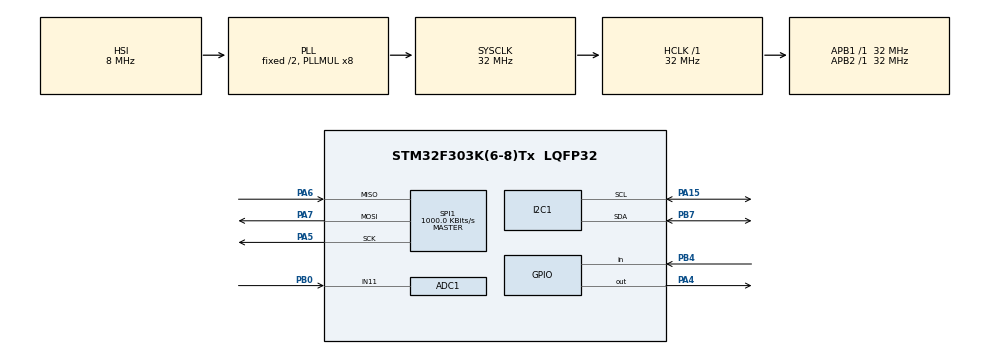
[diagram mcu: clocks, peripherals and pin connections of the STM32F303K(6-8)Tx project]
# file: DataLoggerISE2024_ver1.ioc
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ADC1.Channel-2\#ChannelRegularConversion=ADC_CHANNEL_11
ADC1.NbrOfConversionFlag=1
ADC1.Offset-2\#ChannelRegularConversion=0
ADC1.OffsetNumber-2\#ChannelRegularConversion=ADC_OFFSET_NONE
ADC1.Rank-2\#ChannelRegularConversion=1
ADC1.SamplingTime-2\#ChannelRegularConversion=ADC_SAMPLETIME_1CYCLE_5
ADC1.SubFamily=STM32F303x8
ADC1.master=1
FATFS._MAX_SS=1024
FATFS._USE_LFN=1
FATFS._USE_STRFUNC=2
I2C1.AddressingMode=I2C_ADDRESSINGMODE_7BIT
Mcu.Family=STM32F3
Mcu.Name=STM32F303K(6-8)Tx
Mcu.Package=LQFP32
NVIC.PriorityGroup=NVIC_PRIORITYGROUP_4
PA0.Mode=SYS_WakeUp0
PA0.Signal=SYS_WKUP1
PA13.Mode=Trace_Asynchronous_SW
PA13.Signal=SYS_JTMS-SWDIO
PA14.Mode=Trace_Asynchronous_SW
PA14.Signal=SYS_JTCK-SWCLK
PA15.GPIO_Pu=GPIO_PULLUP
PA15.Mode=I2C
PA15.Signal=I2C1_SCL
PA4.Signal=GPIO_Output
PA5.GPIO_PuPd=GPIO_NOPULL
PA5.Mode=Full_Duplex_Master
PA5.Signal=SPI1_SCK
PA6.GPIO_PuPd=GPIO_PULLUP
PA6.Mode=Full_Duplex_Master
PA6.Signal=SPI1_MISO
PA7.GPIO_PuPd=GPIO_PULLUP
PA7.Mode=Full_Duplex_Master
PA7.Signal=SPI1_MOSI
PB0.Mode=IN11-Single-Ended
PB0.Signal=ADC1_IN11
PB3.Mode=Trace_Asynchronous_SW
PB3.Signal=SYS_JTDO-TRACESWO
PB4.Signal=GPIO_Input
PB7.GPIO_Pu=GPIO_PULLUP
PB7.Mode=I2C
PB7.Signal=I2C1_SDA
ProjectManager.HeapSize=0x200
ProjectManager.StackSize=0x400
ProjectManager.TargetToolchain=STM32CubeIDE
RCC.AHBFreq_Value=32000000
RCC.APB1Freq_Value=32000000
RCC.APB1TimFreq_Value=32000000
RCC.APB2Freq_Value=32000000
RCC.APB2TimFreq_Value=32000000
RCC.CortexFreq_Value=32000000
RCC.HCLKFreq_Value=32000000
RCC.HSE_VALUE=8000000
RCC.HSI_VALUE=8000000
RCC.PLLMUL=RCC_PLL_MUL8
RCC.SYSCLKFreq_VALUE=32000000
RCC.SYSCLKSourceVirtual=RCC_SYSCLKSOURCE_PLLCLK
SPI1.BaudRatePrescaler=SPI_BAUDRATEPRESCALER_32
SPI1.CalculateBaudRate=1000.0 KBits/s
SPI1.DataSize=SPI_DATASIZE_8BIT
SPI1.Direction=SPI_DIRECTION_2LINES
SPI1.Mode=SPI_MODE_MASTER
SPI1.VirtualType=VM_MASTER
VP_FATFS_VS_Generic.Mode=User_defined
VP_TIM3_VS_ClockSourceINT.Mode=Internal
board=custom

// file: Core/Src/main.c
/* USER CODE BEGIN Header */
/**
  ******************************************************************************
  * @file           : main.c
  * @brief          : Main program body
  ******************************************************************************
  * @attention
  *
  * Copyright (c) 2024 STMicroelectronics.
  * All rights reserved.
  *
  * This software is licensed under terms that can be found in the LICENSE file
  * in the root directory of this software component.
  * If no LICENSE file comes with this software, it is provided AS-IS.
  *
  ******************************************************************************
  */
/* USER CODE END Header */
#include "main.h"
#include "fatfs.h"

/* USER CODE BEGIN Includes */
#include "stdio.h"
#include "fatfs_sd.h"
#include "string.h"
#include <bmx055.h>
#include <bmp180.h>
/* USER CODE END Includes */

ADC_HandleTypeDef hadc1;

I2C_HandleTypeDef hi2c1;

SPI_HandleTypeDef hspi1;

TIM_HandleTypeDef htim3;

void SystemClock_Config(void);
static void MX_GPIO_Init(void);
static void MX_I2C1_Init(void);
static void MX_SPI1_Init(void);
static void MX_TIM3_Init(void);
static void MX_ADC1_Init(void);
/* USER CODE BEGIN PFP */
void selfTestBMX055();

//altitudefilter
double getRawAltitude();

/* USER CODE END PFP */

/* USER CODE BEGIN 0 */
FATFS fs;
FIL fil;
FRESULT fresult;
char buffer[160];
UINT br, bw;

FATFS *pfs;
uint32_t fre_clust, tot_size, fre_size;

//HIGHT
double altitude = 0;

//
int fpState = 0;
int time = 0;

int Pit = 0;
float pressure = 0;
float offset = 0.18;
float v = 0.006429;

/* USER CODE END 0 */

int main(void)
{

  /* MCU Configuration--------------------------------------------------------*/

  /* Reset of all peripherals, Initializes the Flash interface and the Systick. */
  HAL_Init();

  /* Configure the system clock */
  SystemClock_Config();

  /* Initialize all configured peripherals */
  MX_GPIO_Init();
  MX_I2C1_Init();
  MX_SPI1_Init();
  MX_FATFS_Init();
  MX_TIM3_Init();
  MX_ADC1_Init();
  /* USER CODE BEGIN 2 */

  fpState = HAL_GPIO_ReadPin(GPIOB, GPIO_PIN_4);

  HAL_ADC_Start(&hadc1);
  HAL_ADC_PollForConversion(&hadc1, 100);
  //Pit= HAL_ADC_GetValue(&hadc1);

  fresult = f_mount(&fs, "/", 1);
       	    if(fresult == FR_OK){
       	  	  printf("SD CARD mounted successfully.");
       	    }else{
       	  	  printf("ERROR : SD CARD mounted");
       	    }
       	   HAL_Delay(1000);

    //bmp180
     int initBMP180 = bmpBegin(1, &hi2c1);

     	if (initBMP180 == 1) {
     		printf("successfully initialized BMP180\n");
     		HAL_Delay(20);
     	} else {
     		printf("initializing BMP180 failed\n");
     	}

     	initBMX055();

     	selfTestBMX055();

  /* USER CODE END 2 */

  /* Infinite loop */
  while (1)
  {

    /* USER CODE BEGIN 3 */
	  HAL_ADC_Start(&hadc1);
	  HAL_ADC_PollForConversion(&hadc1, 100);
	  //HAL_ADC_Stop(&hadc1);
	  Pit= HAL_ADC_GetValue(&hadc1);
//	  pressure = Pit-offset;
//	  pressure = pressure/v;
	  //update Altitude

	  	  if (initBMP180) {
				altitude = getRawAltitude();
				//printf("rawAltiude= %f\n",altitude);
	  	  }

	  	if (f_open(&fil, "log0623.csv", FA_OPEN_ALWAYS | FA_WRITE) == FR_OK) {
	  		int16_t accelData[3];
	  			  	float acc[3] = { 0, 0, 0 };
	  			  	int16_t gyroData[3];
	  			  	int16_t magData[3];
	  			  	if (readBMX055DataAccel(accelData)) {
	  			  			  acc[0] = accelData[0]*0.001;
	  			  			  acc[1] = accelData[1]*0.001;
	  			  			  acc[2] = accelData[2]*0.001;
	  			  			 // printf("Accelerometer: X=%.2f, Y=%.2f, Z=%.2f\n", acc[0], acc[1], acc[2]);
	  				  }

	  				  // Read gyroscope data
	  				  if (readBMX055DataGyro(gyroData)) {
	  					 // printf("Gyroscope: X=%d, Y=%d, Z=%d\n", gyroData[0], gyroData[1], gyroData[2]);
	  				  }

	  				  // Read magnetometer data
	  				  if (readBMX055DataMag(magData)) {
	  					 // printf("Magnetometer: X=%d, Y=%d, Z=%d\n", magData[0], magData[1], magData[2]);
	  				  }

	  				time = HAL_GetTick();

	  				sprintf(buffer,
	  						"%d,%d,%.2f, %.2f, %.2f, %.2f, %d, %d, %d, %d, %d, %d\n",
	  						time,Pit, altitude, acc[0], acc[1], acc[2], gyroData[0], gyroData[1],
							gyroData[2], magData[0], magData[1], magData[2]);\
	  				// for debug
	  				printf("%s", buffer);
	  				f_lseek(&fil, f_size(&fil));
	  				f_write(&fil, buffer, strlen(buffer), &bw);
	  				f_close(&fil);

	  			} else {
	  				printf("open failed");
	  			}
	  	HAL_Delay(100);

  }
  /* USER CODE END 3 */
}

void SystemClock_Config(void)
{
  RCC_OscInitTypeDef RCC_OscInitStruct = {0};
  RCC_ClkInitTypeDef RCC_ClkInitStruct = {0};
  RCC_PeriphCLKInitTypeDef PeriphClkInit = {0};

  /** Initializes the RCC Oscillators according to the specified parameters
  * in the RCC_OscInitTypeDef structure.
  */
  RCC_OscInitStruct.OscillatorType = RCC_OSCILLATORTYPE_HSI;
  RCC_OscInitStruct.HSIState = RCC_HSI_ON;
  RCC_OscInitStruct.HSICalibrationValue = RCC_HSICALIBRATION_DEFAULT;
  RCC_OscInitStruct.PLL.PLLState = RCC_PLL_ON;
  RCC_OscInitStruct.PLL.PLLSource = RCC_PLLSOURCE_HSI;
  RCC_OscInitStruct.PLL.PLLMUL = RCC_PLL_MUL8;
  if (HAL_RCC_OscConfig(&RCC_OscInitStruct) != HAL_OK)
  {
    Error_Handler();
  }

  /** Initializes the CPU, AHB and APB buses clocks
  */
  RCC_ClkInitStruct.ClockType = RCC_CLOCKTYPE_HCLK|RCC_CLOCKTYPE_SYSCLK
                              |RCC_CLOCKTYPE_PCLK1|RCC_CLOCKTYPE_PCLK2;
  RCC_ClkInitStruct.SYSCLKSource = RCC_SYSCLKSOURCE_PLLCLK;
  RCC_ClkInitStruct.AHBCLKDivider = RCC_SYSCLK_DIV1;
  RCC_ClkInitStruct.APB1CLKDivider = RCC_HCLK_DIV1;
  RCC_ClkInitStruct.APB2CLKDivider = RCC_HCLK_DIV1;

  if (HAL_RCC_ClockConfig(&RCC_ClkInitStruct, FLASH_LATENCY_1) != HAL_OK)
  {
    Error_Handler();
  }
  PeriphClkInit.PeriphClockSelection = RCC_PERIPHCLK_I2C1|RCC_PERIPHCLK_ADC12;
  PeriphClkInit.Adc12ClockSelection = RCC_ADC12PLLCLK_DIV1;
  PeriphClkInit.I2c1ClockSelection = RCC_I2C1CLKSOURCE_HSI;
  if (HAL_RCCEx_PeriphCLKConfig(&PeriphClkInit) != HAL_OK)
  {
    Error_Handler();
  }
}

static void MX_ADC1_Init(void)
{

  ADC_MultiModeTypeDef multimode = {0};
  ADC_ChannelConfTypeDef sConfig = {0};

  /** Common config
  */
  hadc1.Instance = ADC1;
  hadc1.Init.ClockPrescaler = ADC_CLOCK_ASYNC_DIV1;
  hadc1.Init.Resolution = ADC_RESOLUTION_12B;
  hadc1.Init.ScanConvMode = ADC_SCAN_DISABLE;
  hadc1.Init.ContinuousConvMode = DISABLE;
  hadc1.Init.DiscontinuousConvMode = DISABLE;
  hadc1.Init.ExternalTrigConvEdge = ADC_EXTERNALTRIGCONVEDGE_NONE;
  hadc1.Init.ExternalTrigConv = ADC_SOFTWARE_START;
  hadc1.Init.DataAlign = ADC_DATAALIGN_RIGHT;
  hadc1.Init.NbrOfConversion = 1;
  hadc1.Init.DMAContinuousRequests = DISABLE;
  hadc1.Init.EOCSelection = ADC_EOC_SINGLE_CONV;
  hadc1.Init.LowPowerAutoWait = DISABLE;
  hadc1.Init.Overrun = ADC_OVR_DATA_OVERWRITTEN;
  if (HAL_ADC_Init(&hadc1) != HAL_OK)
  {
    Error_Handler();
  }

  /** Configure the ADC multi-mode
  */
  multimode.Mode = ADC_MODE_INDEPENDENT;
  if (HAL_ADCEx_MultiModeConfigChannel(&hadc1, &multimode) != HAL_OK)
  {
    Error_Handler();
  }

  /** Configure Regular Channel
  */
  sConfig.Channel = ADC_CHANNEL_11;
  sConfig.Rank = ADC_REGULAR_RANK_1;
  sConfig.SingleDiff = ADC_SINGLE_ENDED;
  sConfig.SamplingTime = ADC_SAMPLETIME_1CYCLE_5;
  sConfig.OffsetNumber = ADC_OFFSET_NONE;
  sConfig.Offset = 0;
  if (HAL_ADC_ConfigChannel(&hadc1, &sConfig) != HAL_OK)
  {
    Error_Handler();
  }

}

static void MX_I2C1_Init(void)
{

  hi2c1.Instance = I2C1;
  hi2c1.Init.Timing = 0x2000090E;
  hi2c1.Init.OwnAddress1 = 0;
  hi2c1.Init.AddressingMode = I2C_ADDRESSINGMODE_7BIT;
  hi2c1.Init.DualAddressMode = I2C_DUALADDRESS_DISABLE;
  hi2c1.Init.OwnAddress2 = 0;
  hi2c1.Init.OwnAddress2Masks = I2C_OA2_NOMASK;
  hi2c1.Init.GeneralCallMode = I2C_GENERALCALL_DISABLE;
  hi2c1.Init.NoStretchMode = I2C_NOSTRETCH_DISABLE;
  if (HAL_I2C_Init(&hi2c1) != HAL_OK)
  {
    Error_Handler();
  }

  /** Configure Analogue filter
  */
  if (HAL_I2CEx_ConfigAnalogFilter(&hi2c1, I2C_ANALOGFILTER_ENABLE) != HAL_OK)
  {
    Error_Handler();
  }

  /** Configure Digital filter
  */
  if (HAL_I2CEx_ConfigDigitalFilter(&hi2c1, 0) != HAL_OK)
  {
    Error_Handler();
  }

}

static void MX_SPI1_Init(void)
{

  /* SPI1 parameter configuration*/
  hspi1.Instance = SPI1;
  hspi1.Init.Mode = SPI_MODE_MASTER;
  hspi1.Init.Direction = SPI_DIRECTION_2LINES;
  hspi1.Init.DataSize = SPI_DATASIZE_8BIT;
  hspi1.Init.CLKPolarity = SPI_POLARITY_LOW;
  hspi1.Init.CLKPhase = SPI_PHASE_1EDGE;
  hspi1.Init.NSS = SPI_NSS_SOFT;
  hspi1.Init.BaudRatePrescaler = SPI_BAUDRATEPRESCALER_32;
  hspi1.Init.FirstBit = SPI_FIRSTBIT_MSB;
  hspi1.Init.TIMode = SPI_TIMODE_DISABLE;
  hspi1.Init.CRCCalculation = SPI_CRCCALCULATION_DISABLE;
  hspi1.Init.CRCPolynomial = 7;
  hspi1.Init.CRCLength = SPI_CRC_LENGTH_DATASIZE;
  hspi1.Init.NSSPMode = SPI_NSS_PULSE_ENABLE;
  if (HAL_SPI_Init(&hspi1) != HAL_OK)
  {
    Error_Handler();
  }

}

static void MX_TIM3_Init(void)
{

  TIM_ClockConfigTypeDef sClockSourceConfig = {0};
  TIM_MasterConfigTypeDef sMasterConfig = {0};

  htim3.Instance = TIM3;
  htim3.Init.Prescaler = 0;
  htim3.Init.CounterMode = TIM_COUNTERMODE_UP;
  htim3.Init.Period = 65535;
  htim3.Init.ClockDivision = TIM_CLOCKDIVISION_DIV1;
  htim3.Init.AutoReloadPreload = TIM_AUTORELOAD_PRELOAD_DISABLE;
  if (HAL_TIM_Base_Init(&htim3) != HAL_OK)
  {
    Error_Handler();
  }
  sClockSourceConfig.ClockSource = TIM_CLOCKSOURCE_INTERNAL;
  if (HAL_TIM_ConfigClockSource(&htim3, &sClockSourceConfig) != HAL_OK)
  {
    Error_Handler();
  }
  sMasterConfig.MasterOutputTrigger = TIM_TRGO_RESET;
  sMasterConfig.MasterSlaveMode = TIM_MASTERSLAVEMODE_DISABLE;
  if (HAL_TIMEx_MasterConfigSynchronization(&htim3, &sMasterConfig) != HAL_OK)
  {
    Error_Handler();
  }

}

static void MX_GPIO_Init(void)
{
  GPIO_InitTypeDef GPIO_InitStruct = {0};

  /* GPIO Ports Clock Enable */
  __HAL_RCC_GPIOA_CLK_ENABLE();
  __HAL_RCC_GPIOB_CLK_ENABLE();

  /*Configure GPIO pin Output Level */
  HAL_GPIO_WritePin(GPIOA, GPIO_PIN_4, GPIO_PIN_RESET);

  /*Configure GPIO pin : PA4 */
  GPIO_InitStruct.Pin = GPIO_PIN_4;
  GPIO_InitStruct.Mode = GPIO_MODE_OUTPUT_PP;
  GPIO_InitStruct.Pull = GPIO_NOPULL;
  GPIO_InitStruct.Speed = GPIO_SPEED_FREQ_LOW;
  HAL_GPIO_Init(GPIOA, &GPIO_InitStruct);

  /*Configure GPIO pin : PB4 */
  GPIO_InitStruct.Pin = GPIO_PIN_4;
  GPIO_InitStruct.Mode = GPIO_MODE_INPUT;
  GPIO_InitStruct.Pull = GPIO_NOPULL;
  HAL_GPIO_Init(GPIOB, &GPIO_InitStruct);

}

/* USER CODE BEGIN 4 */
int _write(int file, char *ptr, int len) {
	int DataIdx;
	for (DataIdx = 0; DataIdx < len; DataIdx++) {
		ITM_SendChar(*ptr++);
	}
	return len;
}

double getRawAltitude() {
	double pressure = readBMPPressure();
	double temperature = readBMPTemperature();
	double _altitude = calculateAltitude(pressure, temperature);

	return _altitude;
}

/* USER CODE END 4 */

void Error_Handler(void)
{
  __disable_irq();
  while (1)
  {
  }
}
